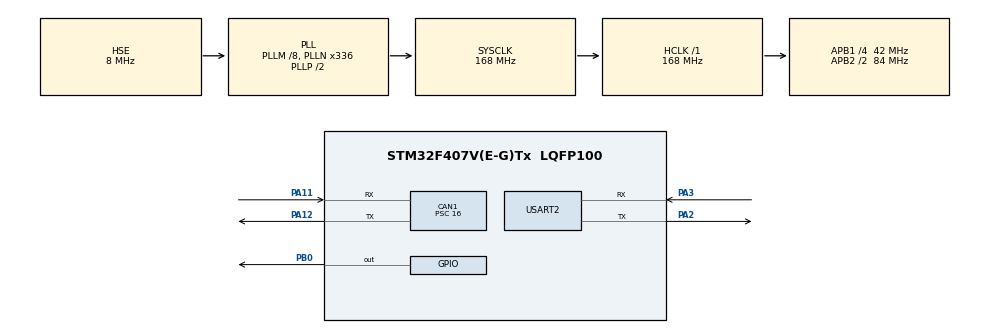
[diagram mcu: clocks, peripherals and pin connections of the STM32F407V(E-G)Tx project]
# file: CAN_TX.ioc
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CAN1.BS1=CAN_BS1_8TQ
CAN1.BS2=CAN_BS2_3TQ
CAN1.CalculateBaudRate=218750
CAN1.CalculateTimeBit=4571
CAN1.CalculateTimeQuantum=380.95238095238096
CAN1.NART=ENABLE
CAN1.Prescaler=16
Mcu.Family=STM32F4
Mcu.Name=STM32F407V(E-G)Tx
Mcu.Package=LQFP100
NVIC.CAN1_RX0_IRQn=true\:0\:0\:false\:false\:true\:true\:true\:true
NVIC.PriorityGroup=NVIC_PRIORITYGROUP_0
PA11.Mode=CAN_Activate
PA11.Signal=CAN1_RX
PA12.Mode=CAN_Activate
PA12.Signal=CAN1_TX
PA2.Mode=Asynchronous
PA2.Signal=USART2_TX
PA3.Mode=Asynchronous
PA3.Signal=USART2_RX
PB0.Signal=GPIO_Output
ProjectManager.HeapSize=0x200
ProjectManager.StackSize=0x400
ProjectManager.TargetToolchain=STM32CubeIDE
RCC.48MHZClocksFreq_Value=48000000
RCC.AHBFreq_Value=168000000
RCC.APB1CLKDivider=RCC_HCLK_DIV4
RCC.APB1Freq_Value=42000000
RCC.APB1TimFreq_Value=84000000
RCC.APB2CLKDivider=RCC_HCLK_DIV2
RCC.APB2Freq_Value=84000000
RCC.APB2TimFreq_Value=168000000
RCC.CortexFreq_Value=168000000
RCC.HCLKFreq_Value=168000000
RCC.HSE_VALUE=8000000
RCC.HSI_VALUE=16000000
RCC.PLLM=8
RCC.PLLN=336
RCC.PLLQ=7
RCC.PLLSourceVirtual=RCC_PLLSOURCE_HSE
RCC.SYSCLKFreq_VALUE=168000000
RCC.SYSCLKSource=RCC_SYSCLKSOURCE_PLLCLK
RCC.VCOOutputFreq_Value=336000000
USART2.VirtualMode=VM_ASYNC
board=STM32F407G-DISC1

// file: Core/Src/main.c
/* USER CODE BEGIN Header */
/**
  ******************************************************************************
  * @file           : main.c
  * @brief          : Main program body
  ******************************************************************************
  * @attention
  *
  * Copyright (c) 2026 STMicroelectronics.
  * All rights reserved.
  *
  * This software is licensed under terms that can be found in the LICENSE file
  * in the root directory of this software component.
  * If no LICENSE file comes with this software, it is provided AS-IS.
  *
  ******************************************************************************
  */
/* USER CODE END Header */
#include "main.h"

CAN_HandleTypeDef hcan1;

UART_HandleTypeDef huart2;

/* USER CODE BEGIN PV */
CAN_FilterTypeDef canfilter;

CAN_RxHeaderTypeDef RxHeader;
uint8_t RxData[8];

uint32_t rx_timestamp = 0;
uint16_t rx_adc = 0;
uint16_t rx_distance = 0;
volatile uint8_t new_can_data = 0;

char msg[128];
/* USER CODE END PV */

void SystemClock_Config(void);
static void MX_GPIO_Init(void);
static void MX_CAN1_Init(void);
static void MX_USART2_UART_Init(void);

int main(void)
{

  /* MCU Configuration--------------------------------------------------------*/

  /* Reset of all peripherals, Initializes the Flash interface and the Systick. */
  HAL_Init();

  /* Configure the system clock */
  SystemClock_Config();

  /* Initialize all configured peripherals */
  MX_GPIO_Init();
  MX_CAN1_Init();
  MX_USART2_UART_Init();
  /* USER CODE BEGIN 2 */
  canfilter.FilterBank = 0;
  canfilter.FilterMode = CAN_FILTERMODE_IDMASK;
  canfilter.FilterScale = CAN_FILTERSCALE_32BIT;

  canfilter.FilterIdHigh = 0x0000;
  canfilter.FilterIdLow = 0x0000;

  canfilter.FilterMaskIdHigh = 0x0000;
  canfilter.FilterMaskIdLow = 0x0000;

  canfilter.FilterFIFOAssignment = CAN_RX_FIFO0;
  canfilter.FilterActivation = ENABLE;
  canfilter.SlaveStartFilterBank = 0;

  if (HAL_CAN_ConfigFilter(&hcan1, &canfilter) != HAL_OK)
  {
      Error_Handler();
  }

  if (HAL_CAN_Start(&hcan1) != HAL_OK)
  {
      Error_Handler();
  }
  if (HAL_CAN_ActivateNotification(&hcan1,
                                    CAN_IT_RX_FIFO0_MSG_PENDING) != HAL_OK)
  {
      Error_Handler();
  }
  /* USER CODE END 2 */

  /* Infinite loop */
  while (1)
  {

    /* USER CODE BEGIN 3 */
	  snprintf(msg,
	           sizeof(msg),
	           "CAN RX | ID: 0x%03lX | ADC: %u | Distance: %u cm | Timestamp: %lu\r\n",
	           (unsigned long)RxHeader.StdId,
	           rx_adc,
	           rx_distance,
	           (unsigned long)rx_timestamp);

	  HAL_UART_Transmit(&huart2,
	                    (uint8_t *)msg,
	                    strlen(msg),
	                    100);

	  HAL_Delay(150);
	  HAL_UART_Transmit(&huart2,
	                    (uint8_t *)msg,
	                    strlen(msg),
	                    100);
  }
  /* USER CODE END 3 */
}

void SystemClock_Config(void)
{
  RCC_OscInitTypeDef RCC_OscInitStruct = {0};
  RCC_ClkInitTypeDef RCC_ClkInitStruct = {0};

  /** Configure the main internal regulator output voltage
  */
  __HAL_RCC_PWR_CLK_ENABLE();
  __HAL_PWR_VOLTAGESCALING_CONFIG(PWR_REGULATOR_VOLTAGE_SCALE1);

  /** Initializes the RCC Oscillators according to the specified parameters
  * in the RCC_OscInitTypeDef structure.
  */
  RCC_OscInitStruct.OscillatorType = RCC_OSCILLATORTYPE_HSE;
  RCC_OscInitStruct.HSEState = RCC_HSE_OFF;
  RCC_OscInitStruct.PLL.PLLState = RCC_PLL_ON;
  RCC_OscInitStruct.PLL.PLLSource = RCC_PLLSOURCE_HSE;
  RCC_OscInitStruct.PLL.PLLM = 8;
  RCC_OscInitStruct.PLL.PLLN = 336;
  RCC_OscInitStruct.PLL.PLLP = RCC_PLLP_DIV2;
  RCC_OscInitStruct.PLL.PLLQ = 7;
  if (HAL_RCC_OscConfig(&RCC_OscInitStruct) != HAL_OK)
  {
    Error_Handler();
  }

  /** Initializes the CPU, AHB and APB buses clocks
  */
  RCC_ClkInitStruct.ClockType = RCC_CLOCKTYPE_HCLK|RCC_CLOCKTYPE_SYSCLK
                              |RCC_CLOCKTYPE_PCLK1|RCC_CLOCKTYPE_PCLK2;
  RCC_ClkInitStruct.SYSCLKSource = RCC_SYSCLKSOURCE_PLLCLK;
  RCC_ClkInitStruct.AHBCLKDivider = RCC_SYSCLK_DIV1;
  RCC_ClkInitStruct.APB1CLKDivider = RCC_HCLK_DIV4;
  RCC_ClkInitStruct.APB2CLKDivider = RCC_HCLK_DIV2;

  if (HAL_RCC_ClockConfig(&RCC_ClkInitStruct, FLASH_LATENCY_5) != HAL_OK)
  {
    Error_Handler();
  }
}

static void MX_CAN1_Init(void)
{

  hcan1.Instance = CAN1;
  hcan1.Init.Prescaler = 16;
  hcan1.Init.Mode = CAN_MODE_NORMAL;
  hcan1.Init.SyncJumpWidth = CAN_SJW_1TQ;
  hcan1.Init.TimeSeg1 = CAN_BS1_8TQ;
  hcan1.Init.TimeSeg2 = CAN_BS2_3TQ;
  hcan1.Init.TimeTriggeredMode = DISABLE;
  hcan1.Init.AutoBusOff = DISABLE;
  hcan1.Init.AutoWakeUp = DISABLE;
  hcan1.Init.AutoRetransmission = ENABLE;
  hcan1.Init.ReceiveFifoLocked = DISABLE;
  hcan1.Init.TransmitFifoPriority = DISABLE;
  if (HAL_CAN_Init(&hcan1) != HAL_OK)
  {
    Error_Handler();
  }

}

static void MX_USART2_UART_Init(void)
{

  huart2.Instance = USART2;
  huart2.Init.BaudRate = 115200;
  huart2.Init.WordLength = UART_WORDLENGTH_8B;
  huart2.Init.StopBits = UART_STOPBITS_1;
  huart2.Init.Parity = UART_PARITY_NONE;
  huart2.Init.Mode = UART_MODE_TX_RX;
  huart2.Init.HwFlowCtl = UART_HWCONTROL_NONE;
  huart2.Init.OverSampling = UART_OVERSAMPLING_16;
  if (HAL_UART_Init(&huart2) != HAL_OK)
  {
    Error_Handler();
  }

}

static void MX_GPIO_Init(void)
{
  GPIO_InitTypeDef GPIO_InitStruct = {0};

  /* GPIO Ports Clock Enable */
  __HAL_RCC_GPIOA_CLK_ENABLE();
  __HAL_RCC_GPIOB_CLK_ENABLE();

  /*Configure GPIO pin Output Level */
  HAL_GPIO_WritePin(GPIOB, GPIO_PIN_0, GPIO_PIN_RESET);

  /*Configure GPIO pin : PB0 */
  GPIO_InitStruct.Pin = GPIO_PIN_0;
  GPIO_InitStruct.Mode = GPIO_MODE_OUTPUT_PP;
  GPIO_InitStruct.Pull = GPIO_NOPULL;
  GPIO_InitStruct.Speed = GPIO_SPEED_FREQ_LOW;
  HAL_GPIO_Init(GPIOB, &GPIO_InitStruct);

}

/* USER CODE BEGIN 4 */
void HAL_CAN_RxFifo0MsgPendingCallback(CAN_HandleTypeDef *hcan)
{
	if (RxHeader.StdId == 0x001)
	{
	    rx_timestamp = ((uint32_t)RxData[0] << 24) |
	                   ((uint32_t)RxData[1] << 16) |
	                   ((uint32_t)RxData[2] << 8)  |
	                   ((uint32_t)RxData[3]);

	    rx_adc = ((uint16_t)RxData[4] << 8) |
	             RxData[5];

	    rx_distance = ((uint16_t)RxData[6] << 8) |
	                  RxData[7];

	    new_can_data = 1;

	    HAL_GPIO_TogglePin(GPIOB, GPIO_PIN_0);
	}
}
/* USER CODE END 4 */

void Error_Handler(void)
{
  __disable_irq();
  while (1)
  {
  }
}
